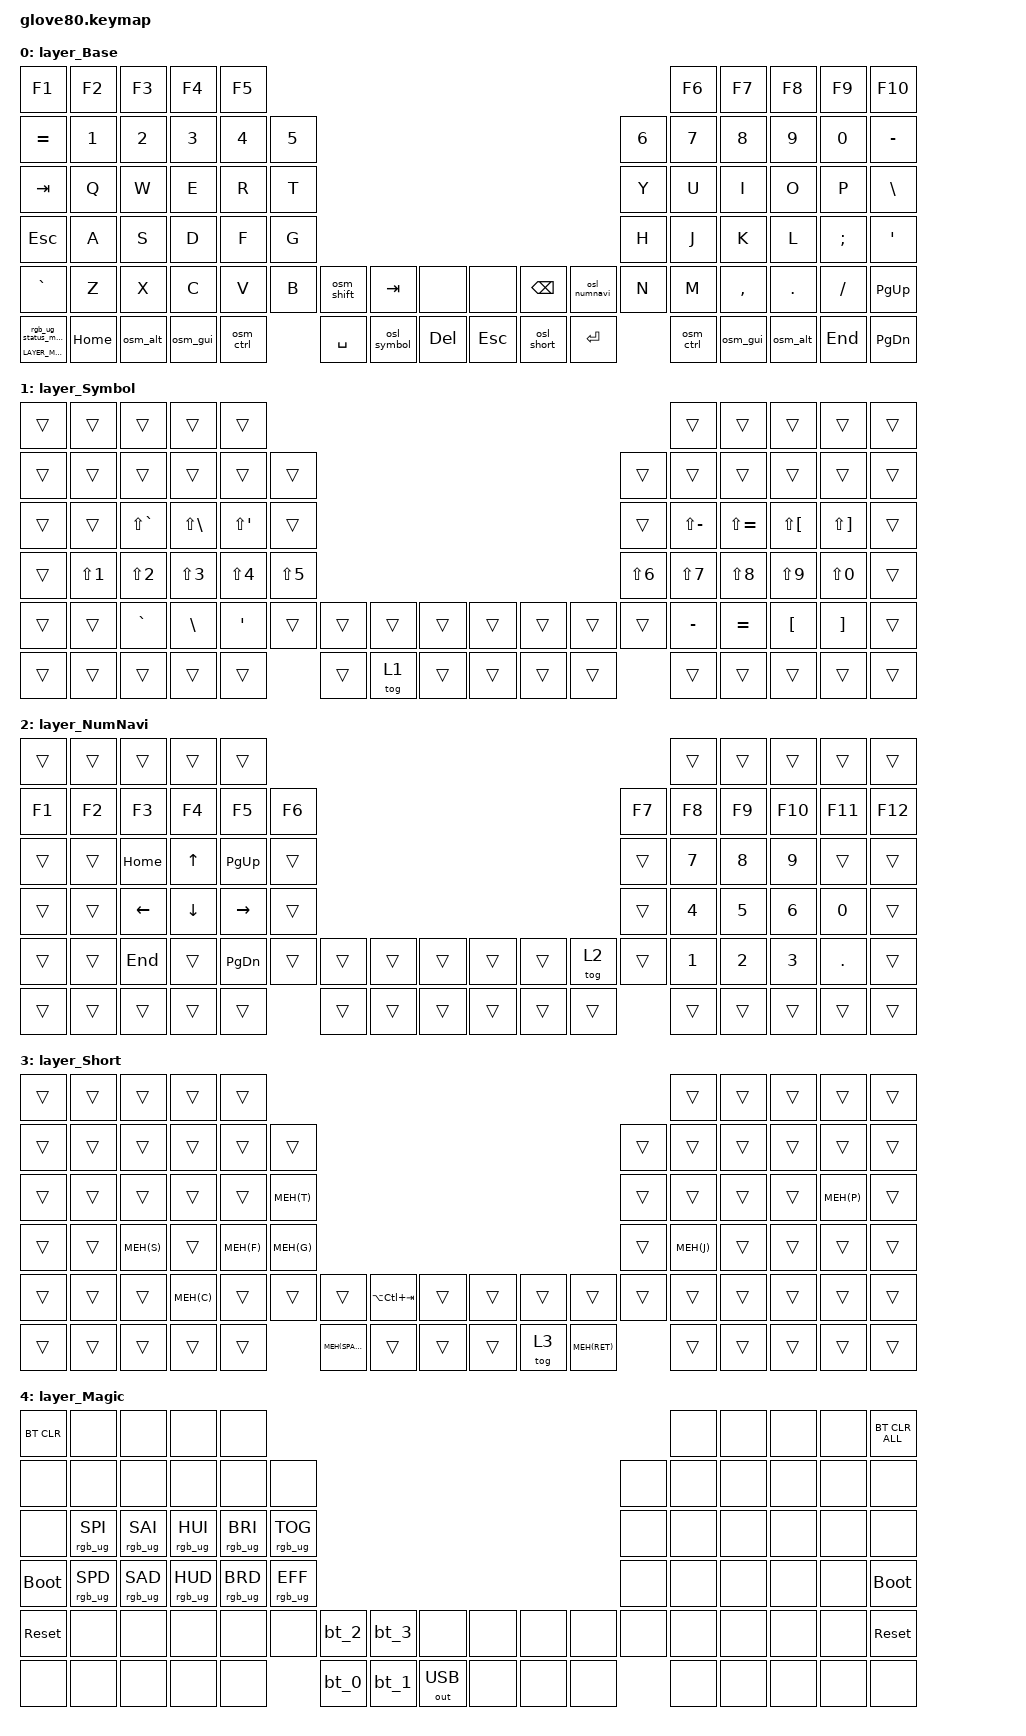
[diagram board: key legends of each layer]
/*
 * Copyright (c) 2020 The ZMK Contributors
 * Copyright (c) 2023 Innaworks Development Limited, trading as MoErgo
 *
 * SPDX-License-Identifier: MIT
 */


/* THIS FILE WAS GENERATED BY GLOVE80 LAYOUT EDITOR
 *
 * This file was generated automatically. You may or may not want to
 * edit it directly.
 */

#include <behaviors.dtsi>
/* Include all behavior includes needed */
#include <dt-bindings/zmk/outputs.h>
#include <dt-bindings/zmk/keys.h>
#include <dt-bindings/zmk/bt.h>
#include <dt-bindings/zmk/rgb.h>

#define MEH(key) LA(LC(LS(key)))

/* Automatically generated layer name #define */
#define LAYER_Base 0
#define LAYER_Symbol 1
#define LAYER_NumNavi 2
#define LAYER_Short 3
#define LAYER_Magic 4

/* To deal with the situation where there is no Lower layer, to keep &lower happy */
#ifndef LAYER_Lower
#define LAYER_Lower 0
#endif

/* Custom Device-tree */
&sk {
    quick-release;
    lazy;
};


/* Glove80 system behavior & macros */
/ {
    behaviors {
        // For the "layer" key, it'd nice to be able to use it as either a shift or a toggle.
        // Configure it as a tap dance, so the first tap (or hold) is a &mo and the second tap is a &to
        lower: lower {
            compatible = "zmk,behavior-tap-dance";
            label = "LAYER_TAP_DANCE";
            #binding-cells = <0>;
            tapping-term-ms = <200>;
            bindings = <&mo LAYER_Lower>, <&to LAYER_Lower>;
        };
    };
};

/ {
    macros {
        rgb_ug_status_macro: rgb_ug_status_macro {
            label = "RGB_UG_STATUS";
            compatible = "zmk,behavior-macro";
            #binding-cells = <0>;
            bindings
                = <&rgb_ug RGB_STATUS>;
        };
    };
};


/ {
#ifdef BT_DISC_CMD
    behaviors {
        bt_0: bt_0 {
            compatible = "zmk,behavior-tap-dance";
            label = "BT_0";
            #binding-cells = <0>;
            tapping-term-ms = <200>;
            bindings = <&bt_select_0>, <&bt BT_DISC 0>;
        };
        bt_1: bt_1 {
            compatible = "zmk,behavior-tap-dance";
            label = "BT_1";
            #binding-cells = <0>;
            tapping-term-ms = <200>;
            bindings = <&bt_select_1>, <&bt BT_DISC 1>;
        };
        bt_2: bt_2 {
            compatible = "zmk,behavior-tap-dance";
            label = "BT_2";
            #binding-cells = <0>;
            tapping-term-ms = <200>;
            bindings = <&bt_select_2>, <&bt BT_DISC 2>;
        };
        bt_3: bt_3 {
            compatible = "zmk,behavior-tap-dance";
            label = "BT_3";
            #binding-cells = <0>;
            tapping-term-ms = <200>;
            bindings = <&bt_select_3>, <&bt BT_DISC 3>;
        };
    };
    macros {
        bt_select_0: bt_select_0 {
            label = "BT_SELECT_0";
            compatible = "zmk,behavior-macro";
            #binding-cells = <0>;
            bindings
                = <&out OUT_BLE>,
                  <&bt BT_SEL 0>;
        };
        bt_select_1: bt_select_1 {
            label = "BT_SELECT_1";
            compatible = "zmk,behavior-macro";
            #binding-cells = <0>;
            bindings
                = <&out OUT_BLE>,
                  <&bt BT_SEL 1>;
        };
        bt_select_2: bt_select_2 {
            label = "BT_SELECT_2";
            compatible = "zmk,behavior-macro";
            #binding-cells = <0>;
            bindings
                = <&out OUT_BLE>,
                  <&bt BT_SEL 2>;
        };
        bt_select_3: bt_select_3 {
            label = "BT_SELECT_3";
            compatible = "zmk,behavior-macro";
            #binding-cells = <0>;
            bindings
                = <&out OUT_BLE>,
                  <&bt BT_SEL 3>;
        };
    };
#else
    macros {
        bt_0: bt_0 {
            label = "BT_0";
            compatible = "zmk,behavior-macro";
            #binding-cells = <0>;
            bindings
                = <&out OUT_BLE>,
                  <&bt BT_SEL 0>;
        };
        bt_1: bt_1 {
            label = "BT_1";
            compatible = "zmk,behavior-macro";
            #binding-cells = <0>;
            bindings
                = <&out OUT_BLE>,
                  <&bt BT_SEL 1>;
        };
        bt_2: bt_2 {
            label = "BT_2";
            compatible = "zmk,behavior-macro";
            #binding-cells = <0>;
            bindings
                = <&out OUT_BLE>,
                  <&bt BT_SEL 2>;
        };
        bt_3: bt_3 {
            label = "BT_3";
            compatible = "zmk,behavior-macro";
            #binding-cells = <0>;
            bindings
                = <&out OUT_BLE>,
                  <&bt BT_SEL 3>;
        };
    };
#endif
};

/ {
    behaviors {
        magic: magic {
            compatible = "zmk,behavior-hold-tap";
            label = "MAGIC_HOLD_TAP";
            #binding-cells = <2>;
            flavor = "tap-preferred";
            tapping-term-ms = <200>;
            bindings = <&mo>, <&rgb_ug_status_macro>;
        };
    };
};

/* #define for key positions */
#define POS_LH_T1 52
#define POS_LH_T2 53
#define POS_LH_T3 54
#define POS_LH_T4 69
#define POS_LH_T5 70
#define POS_LH_T6 71
#define POS_LH_C1R2 15
#define POS_LH_C1R3 27
#define POS_LH_C1R4 39
#define POS_LH_C1R5 51
#define POS_LH_C2R1 4
#define POS_LH_C2R2 14
#define POS_LH_C2R3 26
#define POS_LH_C2R4 38
#define POS_LH_C2R5 50
#define POS_LH_C2R6 68
#define POS_LH_C3R1 3
#define POS_LH_C3R2 13
#define POS_LH_C3R3 25
#define POS_LH_C3R4 37
#define POS_LH_C3R5 49
#define POS_LH_C3R6 67
#define POS_LH_C4R1 2
#define POS_LH_C4R2 12
#define POS_LH_C4R3 24
#define POS_LH_C4R4 36
#define POS_LH_C4R5 48
#define POS_LH_C4R6 66
#define POS_LH_C5R1 1
#define POS_LH_C5R2 11
#define POS_LH_C5R3 23
#define POS_LH_C5R4 35
#define POS_LH_C5R5 47
#define POS_LH_C5R6 65
#define POS_LH_C6R1 0
#define POS_LH_C6R2 10
#define POS_LH_C6R3 22
#define POS_LH_C6R4 34
#define POS_LH_C6R5 46
#define POS_LH_C6R6 64
#define POS_RH_T1 57
#define POS_RH_T2 56
#define POS_RH_T3 55
#define POS_RH_T4 74
#define POS_RH_T5 73
#define POS_RH_T6 72
#define POS_RH_C1R2 16
#define POS_RH_C1R3 28
#define POS_RH_C1R4 40
#define POS_RH_C1R5 58
#define POS_RH_C2R1 5
#define POS_RH_C2R2 17
#define POS_RH_C2R3 29
#define POS_RH_C2R4 41
#define POS_RH_C2R5 59
#define POS_RH_C2R6 75
#define POS_RH_C3R1 6
#define POS_RH_C3R2 18
#define POS_RH_C3R3 30
#define POS_RH_C3R4 42
#define POS_RH_C3R5 60
#define POS_RH_C3R6 76
#define POS_RH_C4R1 7
#define POS_RH_C4R2 19
#define POS_RH_C4R3 31
#define POS_RH_C4R4 43
#define POS_RH_C4R5 61
#define POS_RH_C4R6 77
#define POS_RH_C5R1 8
#define POS_RH_C5R2 20
#define POS_RH_C5R3 32
#define POS_RH_C5R4 44
#define POS_RH_C5R5 62
#define POS_RH_C5R6 78
#define POS_RH_C6R1 9
#define POS_RH_C6R2 21
#define POS_RH_C6R3 33
#define POS_RH_C6R4 45
#define POS_RH_C6R5 63
#define POS_RH_C6R6 79

/* Custom Defined Behaviors */
/ {
    behaviors {
        sticky_shift: sticky_shift {
            compatible = "zmk,behavior-mod-morph";
            #binding-cells = <0>;
            bindings = <&sk LSHIFT>, <&kt LSHIFT>;
            mods = <(MOD_LSFT|MOD_RSFT)>;
        };
        osm_shift: one_shot_mod_shift {
            compatible = "zmk,behavior-tap-dance";
            #binding-cells = <0>;
            tapping-term-ms = <200>;
            bindings = <&sticky_shift>, <&kt LSHIFT>;
        };
        sticky_ctrl: sticky_ctrl {
            compatible = "zmk,behavior-mod-morph";
            #binding-cells = <0>;
            bindings = <&sk LCTRL>, <&kt LCTRL>;
            mods = <(MOD_LCTL|MOD_RCTL)>;
        };
        osm_ctrl: one_shot_mod_ctrl {
            compatible = "zmk,behavior-tap-dance";
            #binding-cells = <0>;
            tapping-term-ms = <200>;
            bindings = <&sticky_ctrl>, <&kt LCTRL>;
        };
        sticky_alt: sticky_alt {
            compatible = "zmk,behavior-mod-morph";
            #binding-cells = <0>;
            bindings = <&sk LALT>, <&kt LALT>;
            mods = <(MOD_LALT|MOD_RALT)>;
        };
        osm_alt: one_shot_mod_alt {
            compatible = "zmk,behavior-tap-dance";
            #binding-cells = <0>;
            tapping-term-ms = <200>;
            bindings = <&sticky_alt>, <&kt LALT>;
        };
        sticky_gui: sticky_gui {
            compatible = "zmk,behavior-mod-morph";
            #binding-cells = <0>;
            bindings = <&sk LGUI>, <&kt LGUI>;
            mods = <(MOD_LGUI|MOD_RGUI)>;
        };
        osm_gui: one_shot_mod_gui {
            compatible = "zmk,behavior-tap-dance";
            #binding-cells = <0>;
            tapping-term-ms = <200>;
            bindings = <&sticky_gui>, <&kt LGUI>;
        };


        osl_symbol: one_shot_layer_symbol {
            compatible = "zmk,behavior-tap-dance";
            #binding-cells = <0>;
            tapping-term-ms = <200>;
            bindings = <&sl LAYER_Symbol>, <&to LAYER_Symbol>;
        };
        osl_numnavi: one_shot_layer_numnavi {
            compatible = "zmk,behavior-tap-dance";
            #binding-cells = <0>;
            tapping-term-ms = <200>;
            bindings = <&sl LAYER_NumNavi>, <&to LAYER_NumNavi>;
        };
        osl_short: one_shot_layer_short {
            compatible = "zmk,behavior-tap-dance";
            #binding-cells = <0>;
            tapping-term-ms = <200>;
            bindings = <&sl LAYER_Short>, <&to LAYER_Short>;
        };
    };
};

/* Automatically generated macro definitions */
/ {
    macros {
    
    };
};

/* Automatically generated keymap */
/ {
    keymap {
        compatible = "zmk,keymap";


        layer_Base {
            bindings = <
&kp F1               &kp F2   &kp F3   &kp F4   &kp F5                                                                                 &kp F6    &kp F7    &kp F8   &kp F9   &kp F10
&kp EQUAL            &kp N1   &kp N2   &kp N3   &kp N4    &kp N5                                                                &kp N6 &kp N7    &kp N8    &kp N9   &kp N0   &kp MINUS
&kp TAB              &kp Q    &kp W    &kp E    &kp R     &kp T                                                                 &kp Y  &kp U     &kp I     &kp O    &kp P    &kp BSLH
&kp ESC              &kp A    &kp S    &kp D    &kp F     &kp G                                                                 &kp H  &kp J     &kp K     &kp L    &kp SEMI &kp SQT
&kp GRAVE            &kp Z    &kp X    &kp C    &kp V     &kp B  &osm_shift &kp TAB     &none   &none   &kp BSPC   &osl_numnavi &kp N  &kp M     &kp COMMA &kp DOT  &kp FSLH &kp PG_UP
&magic LAYER_Magic 0 &kp HOME &osm_alt &osm_gui &osm_ctrl        &kp SPACE  &osl_symbol &kp DEL &kp ESC &osl_short &kp RET             &osm_ctrl &osm_gui  &osm_alt &kp END  &kp PG_DN
            >;
        };

        layer_Symbol {
            bindings = <
&trans &trans     &trans        &trans       &trans                                                                      &trans        &trans        &trans       &trans       &trans
&trans &trans     &trans        &trans       &trans      &trans                                               &trans     &trans        &trans        &trans       &trans       &trans
&trans &trans     &kp LS(GRAVE) &kp LS(BSLH) &kp LS(SQT) &trans                                               &trans     &kp LS(MINUS) &kp LS(EQUAL) &kp LS(LBKT) &kp LS(RBKT) &trans
&trans &kp LS(N1) &kp LS(N2)    &kp LS(N3)   &kp LS(N4)  &kp LS(N5)                                           &kp LS(N6) &kp LS(N7)    &kp LS(N8)    &kp LS(N9)   &kp LS(N0)   &trans
&trans &trans     &kp GRAVE     &kp BSLH     &kp SQT     &trans     &trans &trans &trans &trans &trans &trans &trans     &kp MINUS     &kp EQUAL     &kp LBKT     &kp RBKT     &trans
&trans &trans     &trans        &trans       &trans                 &trans &tog 1 &trans &trans &trans &trans            &trans        &trans        &trans       &trans       &trans
            >;
        };

        layer_NumNavi {
            bindings = <
&trans &trans &trans         &trans         &trans                                                                  &trans &trans &trans  &trans  &trans
&kp F1 &kp F2 &kp F3         &kp F4         &kp F5          &kp F6                                           &kp F7 &kp F8 &kp F9 &kp F10 &kp F11 &kp F12
&trans &trans &kp HOME       &kp UP_ARROW   &kp PG_UP       &trans                                           &trans &kp N7 &kp N8 &kp N9  &trans  &trans
&trans &trans &kp LEFT_ARROW &kp DOWN_ARROW &kp RIGHT_ARROW &trans                                           &trans &kp N4 &kp N5 &kp N6  &kp N0  &trans
&trans &trans &kp END        &trans         &kp PG_DN       &trans &trans &trans &trans &trans &trans &tog 2 &trans &kp N1 &kp N2 &kp N3  &kp DOT &trans
&trans &trans &trans         &trans         &trans                 &trans &trans &trans &trans &trans &trans        &trans &trans &trans  &trans  &trans
            >;
        };

        layer_Short {
            bindings = <
&trans &trans &trans     &trans     &trans                                                                                        &trans     &trans &trans &trans     &trans
&trans &trans &trans     &trans     &trans     &trans                                                                      &trans &trans     &trans &trans &trans     &trans
&trans &trans &trans     &trans     &trans     &kp MEH(T)                                                                  &trans &trans     &trans &trans &kp MEH(P) &trans
&trans &trans &kp MEH(S) &trans     &kp MEH(F) &kp MEH(G)                                                                  &trans &kp MEH(J) &trans &trans &trans     &trans
&trans &trans &trans     &kp MEH(C) &trans     &trans     &trans         &kp LA(LC(TAB)) &trans &trans &trans &trans       &trans &trans     &trans &trans &trans     &trans
&trans &trans &trans     &trans     &trans                &kp MEH(SPACE) &trans          &trans &trans &tog 3 &kp MEH(RET)        &trans     &trans &trans &trans     &trans
            >;
        };

        layer_Magic {
            bindings = <
&bt BT_CLR  &none           &none           &none           &none                                                                              &none &none &none &none &bt BT_CLR_ALL
&none       &none           &none           &none           &none           &none                                                        &none &none &none &none &none &none
&none       &rgb_ug RGB_SPI &rgb_ug RGB_SAI &rgb_ug RGB_HUI &rgb_ug RGB_BRI &rgb_ug RGB_TOG                                              &none &none &none &none &none &none
&bootloader &rgb_ug RGB_SPD &rgb_ug RGB_SAD &rgb_ug RGB_HUD &rgb_ug RGB_BRD &rgb_ug RGB_EFF                                              &none &none &none &none &none &bootloader
&sys_reset  &none           &none           &none           &none           &none           &bt_2   &bt_3 &none        &none &none &none &none &none &none &none &none &sys_reset
&none       &none           &none           &none           &none                           &bt_0   &bt_1 &out OUT_USB &none &none &none       &none &none &none &none &none
            >;
        };

    };
};
